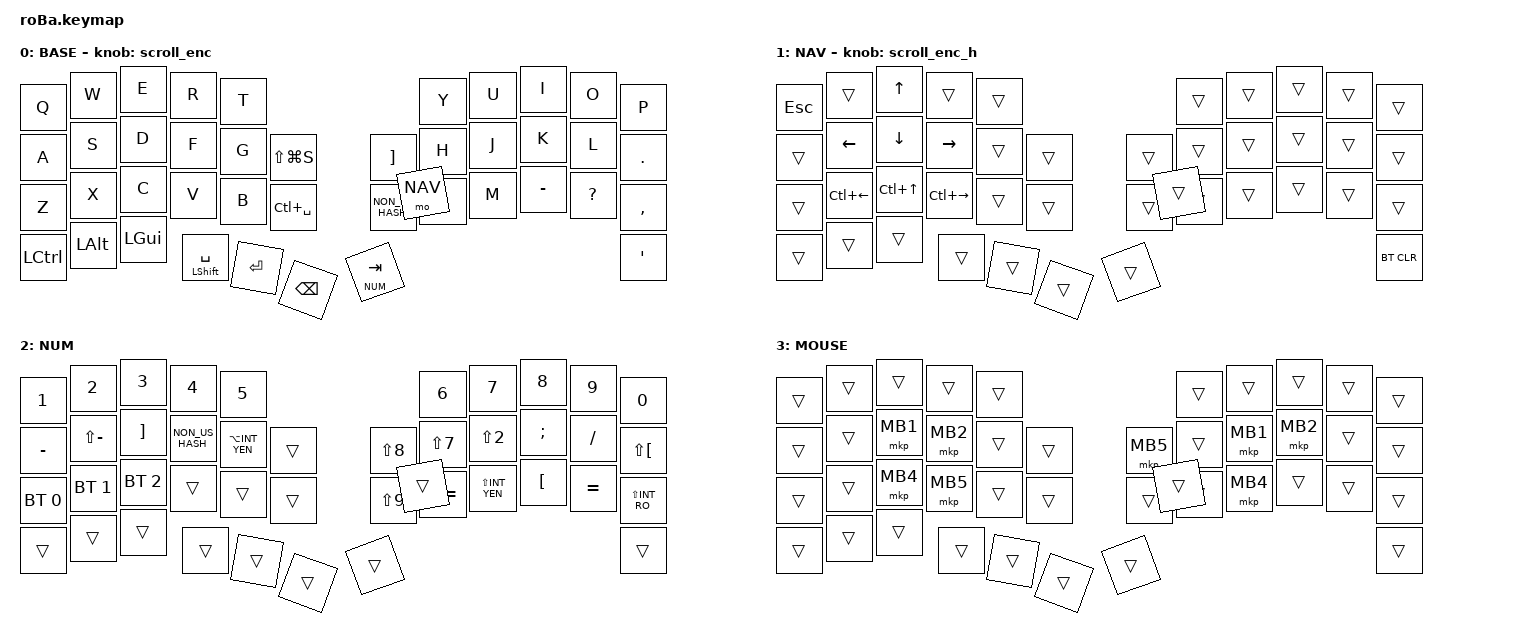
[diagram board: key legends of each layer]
/*
 * roBa keymap  ― Mac / iPad を「JIS配列」として使う前提
 *
 * ZMK のキー名は US 配列基準なので、JIS で目的の文字を出すために
 * 下の JP_* マクロで読み替えている。Studio の表示（US 名）と実際の文字は食い違う。
 *
 * レイヤー構成
 *   0 BASE  : 基本（執筆用）
 *   1 NAV   : 右親指・内側を押している間 … Esc / 矢印（逆T字）/ デスクトップ操作
 *   2 NUM   : 右親指 Tab を長押し  … 数字（上段 1〜0）/ 記号 / BT 切替
 *   3 MOUSE : トラックボールを動かすと自動で入る
 */

#include <behaviors.dtsi>
#include <dt-bindings/zmk/bt.h>
#include <dt-bindings/zmk/keys.h>
#include <dt-bindings/zmk/pointing.h>

/* ---- JIS 配列で出したい文字 → 送るキーコード ---- */
#define JP_LBKT   RBKT              /* [  */
#define JP_RBKT   NON_US_HASH       /* ]  */
#define JP_LBRC   LS(RBKT)          /* {  */
#define JP_RBRC   LS(NON_US_HASH)   /* }  */
#define JP_AT     LBKT              /* @  */
#define JP_GRV    LS(LBKT)          /* `  */
#define JP_COLN   SQT               /* :  */
#define JP_ASTR   LS(SQT)           /* *  */
#define JP_SCLN   SEMI              /* ;  */
#define JP_PLUS   LS(SEMI)          /* +  */
#define JP_CIRC   EQUAL             /* ^  */
#define JP_TILD   LS(EQUAL)         /* ~  */
#define JP_EQL    LS(MINUS)         /* =  */
#define JP_YEN    INT_YEN           /* ¥  */
#define JP_PIPE   LS(INT_YEN)       /* |  */
#define JP_BSLS   LA(INT_YEN)       /* \  (Mac: Option+¥) */
#define JP_UNDS   LS(INT_RO)        /* _  */
#define JP_DQUO   LS(N2)            /* "  */
#define JP_QUOT   LS(N7)            /* '  */
#define JP_LPRN   LS(N8)            /* (  */
#define JP_RPRN   LS(N9)            /* )  */

#define BASE  0
#define NAV   1
#define NUM   2
#define MOUSE 3

&mt {
    flavor = "balanced";
    quick-tap-ms = <0>;
};

&trackball {
    automouse-layer = <MOUSE>;
};

/* エンコーダ1回転あたりのスクロール回数（元は10。少ないほど控えめ） */
&sensors {
    triggers-per-rotation = <4>;
};

/* エンコーダ用：一定速度でスクロール（加速なし） */
&msc {
    time-to-max-speed-ms = <0>;
    acceleration-exponent = <0>;
};

/ {
    behaviors {
        /*
         * エンコーダ1目盛り＝マウスホイール約1ノッチ。
         * 速度80/秒で25ms押す → 16ms周期の1回分（80×16/1000≒1）だけスクロールする。
         * Mac の「ナチュラルなスクロール」オンで、時計回り＝以前の↑キーと同じ動き。
         */
        scroll_enc: scroll_encoder {
            compatible = "zmk,behavior-sensor-rotate";
            #sensor-binding-cells = <0>;
            bindings = <&msc MOVE_Y(-80)>, <&msc MOVE_Y(80)>;
            tap-ms = <25>;
        };

        /*
         * 横スクロール版（NAV を押さえている間）。Scrivener の縦書き用。
         * 縦スクロールで「下へ進む」のと同じ回し方で、縦書きの原稿を読み進める（画面は左へ）。
         */
        scroll_enc_h: scroll_encoder_horizontal {
            compatible = "zmk,behavior-sensor-rotate";
            #sensor-binding-cells = <0>;
            bindings = <&msc MOVE_X(-80)>, <&msc MOVE_X(80)>;
            tap-ms = <25>;
        };

        mt_ime: mt_ime {
            compatible = "zmk,behavior-hold-tap";
            #binding-cells = <2>;
            flavor = "hold-preferred";
            tapping-term-ms = <200>;
            bindings = <&kp>, <&kp>;
        };
    };

    keymap {
        compatible = "zmk,keymap";

        base_layer {
            display-name = "BASE";
            bindings = <
&kp Q  &kp W  &kp E  &kp R  &kp T                                     &kp Y  &kp U  &kp I  &kp O  &kp P
&kp A  &kp S  &kp D  &kp F  &kp G  &kp LS(LG(S))       &kp JP_LBKT    &kp H  &kp J  &kp K  &kp L  &kp DOT
&kp Z  &kp X  &kp C  &kp V  &kp B  &kp LC(SPACE)       &kp JP_RBKT    &kp N  &kp M  &kp MINUS  &kp QMARK  &kp COMMA
&kp LCTRL  &kp LALT  &kp LGUI  &mt_ime LSHIFT SPACE  &kp ENTER  &kp BSPC  &lt NUM TAB  &mo NAV  &kp JP_COLN
            >;
            sensor-bindings = <&scroll_enc>;
        };

        nav_layer {
            display-name = "NAV";
            bindings = <
&kp ESC  &trans         &kp UP      &trans          &trans                  &trans  &trans  &trans  &trans  &trans
&trans   &kp LEFT       &kp DOWN    &kp RIGHT       &trans  &trans  &trans  &trans  &trans  &trans  &trans  &trans
&trans   &kp LC(LEFT)   &kp LC(UP)  &kp LC(RIGHT)   &trans  &trans  &trans  &trans  &trans  &trans  &trans  &trans
&trans  &trans  &trans  &trans  &trans  &trans  &trans  &trans  &bt BT_CLR
            >;
            sensor-bindings = <&scroll_enc_h>;
        };

        num_layer {
            display-name = "NUM";
            bindings = <
&kp N1     &kp N2      &kp N3       &kp N4       &kp N5                                    &kp N6       &kp N7       &kp N8       &kp N9       &kp N0
&kp MINUS  &kp JP_EQL  &kp JP_LBKT  &kp JP_RBKT  &kp JP_BSLS  &trans         &kp JP_LPRN  &kp JP_QUOT  &kp JP_DQUO  &kp JP_SCLN  &kp SLASH    &kp JP_GRV
&bt BT_SEL 0  &bt BT_SEL 1  &bt BT_SEL 2  &trans  &trans  &trans          &kp JP_RPRN  &kp JP_TILD  &kp JP_PIPE  &kp JP_AT    &kp JP_CIRC  &kp JP_UNDS
&trans  &trans  &trans  &trans  &trans  &trans  &trans  &trans  &trans
            >;
        };

        mouse_layer {
            display-name = "MOUSE";
            bindings = <
&trans  &trans  &trans    &trans    &trans                    &trans    &trans    &trans  &trans  &trans
&trans  &trans  &mkp MB1  &mkp MB2  &trans  &trans  &mkp MB5  &trans    &mkp MB1  &mkp MB2  &trans  &trans
&trans  &trans  &mkp MB4  &mkp MB5  &trans  &trans  &trans    &trans    &mkp MB4  &trans  &trans  &trans
&trans  &trans  &trans  &trans  &trans  &trans  &trans  &trans  &trans
            >;
        };
    };
};
